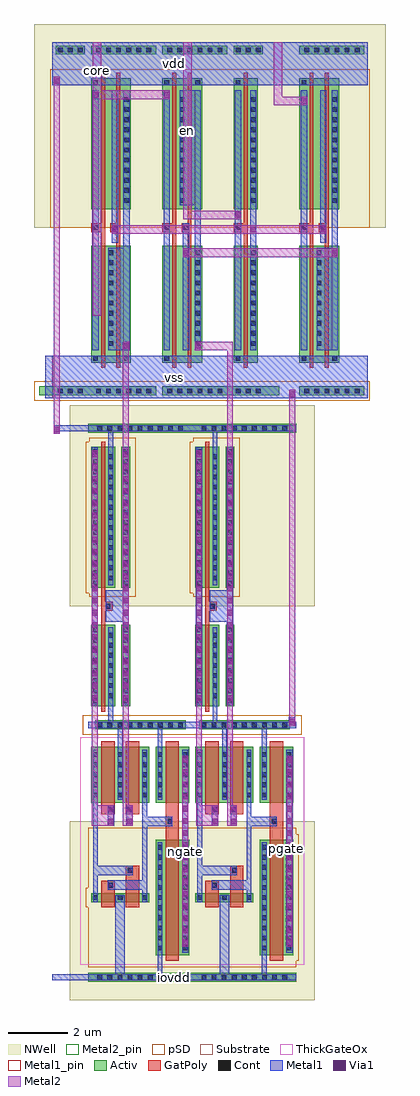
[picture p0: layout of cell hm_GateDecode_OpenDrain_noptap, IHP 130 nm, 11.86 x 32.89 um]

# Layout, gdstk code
import gdstk
lib = gdstk.Library(unit=1e-6, precision=1e-09)
def R(c, l, rs):  # rectangles x0, y0, x1, y1
    for r in rs: c.add(gdstk.rectangle(r[:2], r[2:], *l))
def A(c, l, x, y, w, h, nx, ny, dx, dy):  # array of equal rectangles
    R(c, l, [(x+i*dx, y+j*dy, x+i*dx+w, y+j*dy+h) for i in range(nx) for j in range(ny)])
def P(c, l, *ps):  # polygons
    for p in ps: c.add(gdstk.Polygon(p, *l))
Activ = (1, 0)
GatPoly = (5, 0)
Cont = (6, 0)
Metal1 = (8, 0)
Metal1_pin = (8, 2)
Metal2 = (10, 0)
Metal2_pin = (10, 2)
pSD = (14, 0)
Via1 = (19, 0)
NWell = (31, 0)
Substrate = (40, 0)
ThickGateOx = (44, 0)

sg13g2_io_inv_x1_noptap = lib.new_cell('sg13g2_io_inv_x1_noptap')
R(sg13g2_io_inv_x1_noptap, Activ, [(-0.44,0.105,1.64,0.405), (0.105,1.21,0.915,5.14), (0.105,6.38,0.915,10.79), (0.105,11.595,1.095,11.895)])
P(sg13g2_io_inv_x1_noptap, GatPoly, [(0.445,1.03),(0.445,5.61),(0.105,5.61),(0.105,5.91),(0.445,5.91),(0.445,10.97),(0.575,10.97),(0.575,1.03)])
A(sg13g2_io_inv_x1_noptap, Cont, 0.18, 0.175, 0.16, 0.16, 3, 2, 0.34, 11.49)
A(sg13g2_io_inv_x1_noptap, Cont, 0.685, 1.775, 0.16, 0.16, 1, 10, 0, 0.34)
A(sg13g2_io_inv_x1_noptap, Cont, 0.685, 6.595, 0.16, 0.16, 1, 11, 0, 0.34)
R(sg13g2_io_inv_x1_noptap, Cont, [(0.175,1.28,0.335,1.44), (0.175,5.68,0.335,5.84), (0.175,10.56,0.335,10.72)])
R(sg13g2_io_inv_x1_noptap, Metal1, [(-0.62,0,1.82,1.44), (0.15,1.62,0.36,10.38), (0.66,1.62,0.87,10.38), (0,10.56,1.2,12)])
R(sg13g2_io_inv_x1_noptap, Metal1_pin, [(0,0,1.2,1.44), (0.15,1.62,0.36,10.38), (0.66,1.62,0.87,10.38), (0,10.56,1.2,12)])
R(sg13g2_io_inv_x1_noptap, pSD, [(-0.62,-0.075,1.82,0.585), (-0.075,5.76,1.275,11.09)])
R(sg13g2_io_inv_x1_noptap, NWell, [(-0.62,5.76,1.82,12.62)])
R(sg13g2_io_inv_x1_noptap, Substrate, [(-0.44,0.105,1.64,0.405)])
sg13g2_io_inv_x1_noptap.add(gdstk.Label('sub!', (0.71,0.22), layer=63, texttype=0))
sg13g2_io_inv_x1_noptap.add(gdstk.Label('nq', (0.78,3.755), layer=8, texttype=25))
sg13g2_io_inv_x1_noptap.add(gdstk.Label('i', (0.255,6), layer=8, texttype=25))
sg13g2_io_inv_x1_noptap.add(gdstk.Label('vdd', (0.6,11.28), layer=8, texttype=25))
sg13g2_io_inv_x1_noptap.add(gdstk.Label('vss', (0.6,0.72), layer=8, texttype=25))

sg13g2_levelup_noptap = lib.new_cell('sg13g2_LevelUp_noptap')
R(sg13g2_levelup_noptap, Activ, [(0,-0.15,3.51,0.15), (2.275,0.73,3.405,4.63), (0.105,2.53,2.065,2.83), (0.105,5.87,1.235,7.77), (1.15,5.87,1.85,7.77), (1.765,5.87,2.065,7.77), (2.275,5.87,3.405,7.77), (0.245,8.35,3.29,8.65), (0.105,9.13,0.915,11.88), (1.125,9.13,1.425,11.88), (0.105,13.12,0.915,17.87), (1.125,13.12,1.425,17.87), (0,18.35,3.51,18.65)])
R(sg13g2_levelup_noptap, GatPoly, [(2.615,0.55,3.065,7.95), (0.445,2.35,0.895,3.01), (0.445,2.35,0.895,3.25), (1.275,2.35,1.725,3.75), (1.275,3.45,1.575,3.75), (0.445,5.49,0.895,7.95), (1.275,5.49,1.725,7.95)])
P(sg13g2_levelup_noptap, GatPoly, [(0.445,8.95),(0.445,18.05),(0.575,18.05),(0.575,12.65),(0.825,12.65),(0.825,12.35),(0.575,12.35),(0.575,8.95)],
  [(0.595,5.49),(0.595,5.69),(0.445,5.69),(0.445,7.95),(0.895,7.95),(0.895,5.49)],
  [(1.275,5.49),(1.275,7.95),(1.725,7.95),(1.725,5.69),(1.575,5.69),(1.575,5.49)])
A(sg13g2_levelup_noptap, Cont, 0.315, -0.08, 0.16, 0.16, 9, 2, 0.34, 8.5)
A(sg13g2_levelup_noptap, Cont, 2.345, 0.9, 0.16, 0.16, 1, 11, 0, 0.34)
A(sg13g2_levelup_noptap, Cont, 3.175, 0.9, 0.16, 0.16, 1, 11, 0, 0.34)
A(sg13g2_levelup_noptap, Cont, 0.175, 2.6, 0.16, 0.16, 3, 2, 0.83, 3.46)
A(sg13g2_levelup_noptap, Cont, 2.345, 6.06, 0.16, 0.16, 1, 5, 0, 0.34)
A(sg13g2_levelup_noptap, Cont, 3.175, 6.06, 0.16, 0.16, 1, 5, 0, 0.34)
A(sg13g2_levelup_noptap, Cont, 0.175, 6.4, 0.16, 0.16, 3, 4, 0.83, 0.34)
A(sg13g2_levelup_noptap, Cont, 0.175, 9.235, 0.16, 0.16, 1, 8, 0, 0.34)
A(sg13g2_levelup_noptap, Cont, 1.195, 9.235, 0.16, 0.16, 1, 8, 0, 0.34)
A(sg13g2_levelup_noptap, Cont, 0.685, 9.405, 0.16, 0.16, 1, 7, 0, 0.34)
A(sg13g2_levelup_noptap, Cont, 0.175, 13.205, 0.16, 0.16, 1, 14, 0, 0.34)
A(sg13g2_levelup_noptap, Cont, 1.195, 13.205, 0.16, 0.16, 1, 14, 0, 0.34)
A(sg13g2_levelup_noptap, Cont, 0.685, 13.375, 0.16, 0.16, 1, 13, 0, 0.34)
A(sg13g2_levelup_noptap, Cont, 0.315, 18.42, 0.16, 0.16, 9, 1, 0.34, 0)
R(sg13g2_levelup_noptap, Cont, [(0.665,3.02,0.825,3.18), (1.345,3.52,1.505,3.68), (2.685,5.17,2.845,5.33), (0.665,5.56,0.825,5.72), (1.345,5.56,1.505,5.72), (0.595,12.42,0.755,12.58)])
R(sg13g2_levelup_noptap, Metal1, [(3.175,0.82,3.385,7.66), (0.665,2.94,0.825,3.26), (1.345,3.44,1.505,3.76), (0.665,5.1,0.875,5.8), (1.295,5.1,1.505,5.8), (1.345,5.48,1.505,5.8), (0.125,9.155,0.335,17.865)])
P(sg13g2_levelup_noptap, Metal1, [(1.835,2.52),(1.835,2.94),(0.665,2.94),(0.665,3.26),(1.835,3.26),(1.835,7.66),(1.995,7.66),(1.995,5.41),(2.845,5.41),(2.845,5.09),(1.995,5.09),(1.995,2.52)],
  [(0,-0.105),(0,0.105),(0.925,0.105),(0.925,2.76),(1.245,2.76),(1.245,0.105),(2.345,0.105),(2.345,4.54),(2.505,4.54),(2.505,0.105),(3.51,0.105),(3.51,-0.105)],
  [(0.175,2.52),(0.175,7.66),(0.335,7.66),(0.335,3.76),(1.505,3.76),(1.505,3.44),(0.335,3.44),(0.335,2.52)],
  [(1.17,9.155),(1.17,11.97),(0.595,11.97),(0.595,13.03),(1.17,13.03),(1.17,17.865),(1.38,17.865),(1.38,9.155)],
  [(1.005,5.98),(1.005,8.395),(0,8.395),(0,8.605),(0.685,8.605),(0.685,11.79),(0.845,11.79),(0.845,8.605),(3.51,8.605),(3.51,8.395),(2.505,8.395),(2.505,5.98),(2.345,5.98),(2.345,8.395),(1.165,8.395),(1.165,5.98)],
  [(0.685,13.21),(0.685,18.395),(0,18.395),(0,18.605),(3.51,18.605),(3.51,18.395),(0.845,18.395),(0.845,13.21)])
R(sg13g2_levelup_noptap, Metal1_pin, [(0,-0.105,3.51,0.105), (0,8.395,3.51,8.605), (0,18.395,3.51,18.605)])
R(sg13g2_levelup_noptap, Metal2, [(3.18,1.02,3.38,7.46)])
P(sg13g2_levelup_noptap, Metal2, [(1.175,5.1),(1.175,17.755),(1.375,17.755),(1.375,5.8),(1.5,5.8),(1.5,5.1)],
  [(0.13,5.1),(0.13,17.755),(0.33,17.755),(0.33,5.8),(0.87,5.8),(0.87,5.1)])
R(sg13g2_levelup_noptap, Metal2_pin, [(3.18,1.02,3.38,7.46), (1.175,9.265,1.375,17.755)])
R(sg13g2_levelup_noptap, pSD, [(-0.18,8.17,3.69,8.83)])
P(sg13g2_levelup_noptap, pSD, [(0.035,12.82),(0.035,12.94),(-0.075,12.94),(-0.075,18.05),(0.035,18.05),(0.035,18.17),(1.605,18.17),(1.605,12.82)],
  [(0,0.33),(0,2.35),(-0.075,2.35),(-0.075,3.01),(0,3.01),(0,5.03),(3.51,5.03),(3.51,4.81),(3.585,4.81),(3.585,0.55),(3.51,0.55),(3.51,0.33)])
A(sg13g2_levelup_noptap, Via1, 3.185, 1.07, 0.19, 0.19, 1, 16, 0, 0.41)
A(sg13g2_levelup_noptap, Via1, 0.135, 9.315, 0.19, 0.19, 1, 21, 0, 0.41)
A(sg13g2_levelup_noptap, Via1, 1.18, 9.315, 0.19, 0.19, 1, 21, 0, 0.41)
R(sg13g2_levelup_noptap, Via1, [(0.675,5.15,0.865,5.34), (1.305,5.15,1.495,5.34), (0.675,5.56,0.865,5.75), (1.305,5.56,1.495,5.75)])
R(sg13g2_levelup_noptap, NWell, [(-0.62,-0.77,4.13,5.25), (-0.62,12.5,4.13,19.27)])
R(sg13g2_levelup_noptap, Substrate, [(0.245,8.35,3.29,8.65)])
R(sg13g2_levelup_noptap, ThickGateOx, [(-0.27,0.42,3.78,8.08)])
sg13g2_levelup_noptap.add(gdstk.Label('sub!', (1.61,8.535), layer=63, texttype=0))
sg13g2_levelup_noptap.add(gdstk.Label('iovdd', (1.755,0), layer=8, texttype=25))
sg13g2_levelup_noptap.add(gdstk.Label('vss', (1.755,8.5), layer=8, texttype=25))
sg13g2_levelup_noptap.add(gdstk.Label('vdd', (1.755,18.5), layer=8, texttype=25))
sg13g2_levelup_noptap.add(gdstk.Label('o', (3.28,4.24), layer=10, texttype=25))
sg13g2_levelup_noptap.add(gdstk.Label('i', (1.275,13.51), layer=10, texttype=25))

sg13g2_io_nand2_x1_nopta = lib.new_cell('sg13g2_io_nand2_x1_noptap')
R(sg13g2_io_nand2_x1_nopta, Activ, [(0.105,0.105,2.295,0.405), (0.105,1.21,1.445,5.14), (0.105,6.38,1.445,10.79), (0.105,11.595,2.295,11.895)])
P(sg13g2_io_nand2_x1_nopta, GatPoly, [(0.955,1.03),(0.955,5.61),(0.755,5.61),(0.755,5.91),(0.955,5.91),(0.955,10.97),(1.085,10.97),(1.085,1.03)],
  [(0.445,1.03),(0.445,5.61),(0.105,5.61),(0.105,5.91),(0.445,5.91),(0.445,10.97),(0.575,10.97),(0.575,1.03)])
A(sg13g2_io_nand2_x1_nopta, Cont, 0.27, 0.175, 0.16, 0.16, 6, 2, 0.34, 11.49)
A(sg13g2_io_nand2_x1_nopta, Cont, 1.215, 1.775, 0.16, 0.16, 1, 10, 0, 0.34)
A(sg13g2_io_nand2_x1_nopta, Cont, 0.685, 6.595, 0.16, 0.16, 1, 11, 0, 0.34)
R(sg13g2_io_nand2_x1_nopta, Cont, [(0.175,1.28,0.335,1.44), (0.175,5.68,0.335,5.84), (0.825,5.68,0.985,5.84), (0.175,10.56,0.335,10.72), (1.215,10.56,1.375,10.72)])
R(sg13g2_io_nand2_x1_nopta, Metal1, [(0,0,2.4,1.44), (0.15,1.62,0.36,10.38), (0.8,1.62,1.01,5.91), (0,10.56,2.4,12)])
P(sg13g2_io_nand2_x1_nopta, Metal1, [(1.19,1.62),(1.19,6.515),(0.685,6.515),(0.685,10.38),(1.4,10.38),(1.4,1.62)])
R(sg13g2_io_nand2_x1_nopta, Metal1_pin, [(0,0,2.4,1.44), (0.15,1.62,0.36,10.38), (0.8,1.62,1.01,5.91), (1.19,1.62,1.4,10.38), (0,10.56,2.4,12)])
R(sg13g2_io_nand2_x1_nopta, pSD, [(-0.075,-0.075,2.475,0.585), (-0.075,5.76,2.475,11.09)])
R(sg13g2_io_nand2_x1_nopta, NWell, [(-0.62,5.76,3.02,12.62)])
R(sg13g2_io_nand2_x1_nopta, Substrate, [(0.105,0.105,2.295,0.405)])
sg13g2_io_nand2_x1_nopta.add(gdstk.Label('sub!', (0.36,0.29), layer=63, texttype=0))
sg13g2_io_nand2_x1_nopta.add(gdstk.Label('i1', (0.895,5.865), layer=8, texttype=25))
sg13g2_io_nand2_x1_nopta.add(gdstk.Label('nq', (1.32,10.025), layer=8, texttype=25))
sg13g2_io_nand2_x1_nopta.add(gdstk.Label('i0', (0.255,6), layer=8, texttype=25))
sg13g2_io_nand2_x1_nopta.add(gdstk.Label('vdd', (1.2,11.28), layer=8, texttype=25))
sg13g2_io_nand2_x1_nopta.add(gdstk.Label('vss', (1.2,0.72), layer=8, texttype=25))

sg13g2_io_tie_noptap = lib.new_cell('sg13g2_io_tie_noptap')
R(sg13g2_io_tie_noptap, Activ, [(-0.445,0.105,1.64,0.405), (0.105,11.595,1.095,11.895), (0.11,11.595,1.09,11.895)])
A(sg13g2_io_tie_noptap, Cont, 0.18, 0.175, 0.16, 0.16, 3, 2, 0.34, 11.49)
R(sg13g2_io_tie_noptap, Metal1, [(-0.25,0,1.47,1.44), (0,10.56,1.2,12)])
R(sg13g2_io_tie_noptap, Metal1_pin, [(0,0,1.2,1.44), (0,10.56,1.2,12)])
R(sg13g2_io_tie_noptap, pSD, [(-0.62,-0.075,1.82,0.585), (-0.075,5.76,1.275,11.09)])
R(sg13g2_io_tie_noptap, NWell, [(-0.62,5.76,1.82,12.62)])
R(sg13g2_io_tie_noptap, Substrate, [(-0.445,0.105,1.64,0.405)])
sg13g2_io_tie_noptap.add(gdstk.Label('sub!', (0.62,0.32), layer=63, texttype=0))
sg13g2_io_tie_noptap.add(gdstk.Label('vss', (0.6,0.72), layer=8, texttype=25))
sg13g2_io_tie_noptap.add(gdstk.Label('vdd', (0.6,11.28), layer=8, texttype=25))

sg13g2_io_nor2_x1_noptap = lib.new_cell('sg13g2_io_nor2_x1_noptap')
R(sg13g2_io_nor2_x1_noptap, Activ, [(0.105,0.105,2.295,0.405), (0.105,1.21,1.445,5.14), (0.105,6.38,1.445,10.79), (0.105,11.595,2.295,11.895)])
P(sg13g2_io_nor2_x1_noptap, GatPoly, [(0.955,1.03),(0.955,5.61),(0.755,5.61),(0.755,5.91),(0.955,5.91),(0.955,10.97),(1.085,10.97),(1.085,1.03)],
  [(0.445,1.03),(0.445,5.61),(0.105,5.61),(0.105,5.91),(0.445,5.91),(0.445,10.97),(0.575,10.97),(0.575,1.03)])
A(sg13g2_io_nor2_x1_noptap, Cont, 0.27, 0.175, 0.16, 0.16, 6, 2, 0.34, 11.49)
A(sg13g2_io_nor2_x1_noptap, Cont, 0.685, 1.775, 0.16, 0.16, 1, 10, 0, 0.34)
A(sg13g2_io_nor2_x1_noptap, Cont, 1.215, 6.595, 0.16, 0.16, 1, 11, 0, 0.34)
R(sg13g2_io_nor2_x1_noptap, Cont, [(0.175,1.28,0.335,1.44), (1.215,1.28,1.375,1.44), (0.175,5.68,0.335,5.84), (0.825,5.68,0.985,5.84), (0.175,10.56,0.335,10.72)])
R(sg13g2_io_nor2_x1_noptap, Metal1, [(0,0,2.4,1.44), (0.15,1.62,0.36,10.38), (0.8,5.255,1.01,10.38), (0,10.56,2.4,12)])
P(sg13g2_io_nor2_x1_noptap, Metal1, [(0.685,1.62),(0.685,5.075),(1.19,5.075),(1.19,10.38),(1.4,10.38),(1.4,1.62)])
R(sg13g2_io_nor2_x1_noptap, Metal1_pin, [(0,0,2.4,1.44), (0.15,1.62,0.36,10.38), (1.19,1.62,1.4,10.38), (0.8,5.255,1.01,10.38), (0,10.56,2.4,12)])
R(sg13g2_io_nor2_x1_noptap, pSD, [(-0.075,-0.075,2.475,0.585), (-0.075,5.76,2.475,11.09)])
R(sg13g2_io_nor2_x1_noptap, NWell, [(-0.62,5.76,3.02,12.62)])
R(sg13g2_io_nor2_x1_noptap, Substrate, [(0.105,0.105,2.295,0.405)])
sg13g2_io_nor2_x1_noptap.add(gdstk.Label('sub!', (0.37,0.26), layer=63, texttype=0))
sg13g2_io_nor2_x1_noptap.add(gdstk.Label('i1', (0.92,6.455), layer=8, texttype=25))
sg13g2_io_nor2_x1_noptap.add(gdstk.Label('nq', (1.28,4.63), layer=8, texttype=25))
sg13g2_io_nor2_x1_noptap.add(gdstk.Label('i0', (0.255,6), layer=8, texttype=25))
sg13g2_io_nor2_x1_noptap.add(gdstk.Label('vdd', (1.2,11.28), layer=8, texttype=25))
sg13g2_io_nor2_x1_noptap.add(gdstk.Label('vss', (1.2,0.72), layer=8, texttype=25))

hm_gatedecode_opendrain_ = lib.new_cell('hm_GateDecode_OpenDrain_noptap')
R(hm_gatedecode_opendrain_, Metal1, [(0,-19.605,8.22,-19.395), (7.97,-11.04,8.18,-10.75), (0,0,8.22,1.44), (2.39,1.62,2.6,1.91), (4.79,1.62,5,1.91), (2,5.545,2.21,5.835), (6.66,5.545,6.87,5.835), (4.4,5.62,4.61,5.91), (6.15,6.045,6.36,6.335), (1.35,10.09,1.56,10.38), (3.75,10.09,3.96,10.38), (0,10.56,8.22,12)])
P(hm_gatedecode_opendrain_, Metal1, [(0.04,-1.185),(0.04,-0.895),(4.71,-0.895),(4.71,-1.105),(0.25,-1.105),(0.25,-1.185)])
R(hm_gatedecode_opendrain_, Metal1_pin, [(0,-19.605,8.22,-19.395), (0,0,8.22,1.44), (0,10.56,8.22,12)])
R(hm_gatedecode_opendrain_, Metal2, [(4.38,-18.48,4.58,-12.04), (7.89,-18.48,8.09,-12.04), (7.975,-11.04,8.175,0.29), (0.045,-1.185,0.245,10.85), (1.355,2.79,1.645,10.09), (4.4,4.765,9.62,5.055), (2.005,5.545,6.87,5.835), (6.87,5.545,9.23,5.835), (7.455,9.88,7.745,12), (7.455,9.88,8.58,10.17)])
P(hm_gatedecode_opendrain_, Metal2, [(4.405,6.045),(4.405,12),(4.695,12),(4.695,6.335),(6.36,6.335),(6.36,6.045)],
  [(5.885,-10.235),(5.885,1.62),(4.795,1.62),(4.795,1.91),(6.085,1.91),(6.085,-10.235)],
  [(2.375,-10.235),(2.375,1.91),(2.595,1.91),(2.595,1.62),(2.575,1.62),(2.575,-10.235)],
  [(1.355,10.09),(1.355,12),(1.645,12),(1.645,10.38),(3.955,10.38),(3.955,10.09)])
R(hm_gatedecode_opendrain_, Metal2_pin, [(4.38,-18.48,4.58,-12.04), (7.89,-18.48,8.09,-12.04), (4.405,6.045,4.695,12), (1.355,10.09,1.645,12)])
R(hm_gatedecode_opendrain_, pSD, [(7.82,-0.075,8.145,0.585), (7.275,5.76,8.145,11.09)])
R(hm_gatedecode_opendrain_, Via1, [(7.98,-10.99,8.17,-10.8), (0.05,-1.135,0.24,-0.945), (7.98,0.05,8.17,0.24), (2.4,1.67,2.59,1.86), (4.8,1.67,4.99,1.86), (4.41,4.815,4.6,5.005), (9.42,4.815,9.61,5.005), (2.01,5.595,2.2,5.785), (6.67,5.595,6.86,5.785), (9.03,5.595,9.22,5.785), (6.16,6.095,6.35,6.285), (8.38,9.93,8.57,10.12), (1.36,10.14,1.55,10.33), (3.76,10.14,3.95,10.33), (0.05,10.61,0.24,10.8)])
hm_gatedecode_opendrain_.add(gdstk.Reference(sg13g2_io_inv_x1_noptap, (6,0)))
hm_gatedecode_opendrain_.add(gdstk.Reference(sg13g2_levelup_noptap, (4.71,-19.5)))
hm_gatedecode_opendrain_.add(gdstk.Reference(sg13g2_levelup_noptap, (1.2,-19.5)))
hm_gatedecode_opendrain_.add(gdstk.Reference(sg13g2_io_nand2_x1_nopta, (3.6,0)))
hm_gatedecode_opendrain_.add(gdstk.Reference(sg13g2_io_tie_noptap, (0,0)))
hm_gatedecode_opendrain_.add(gdstk.Reference(sg13g2_io_nor2_x1_noptap, (1.2,0)))
hm_gatedecode_opendrain_.add(gdstk.Reference(sg13g2_io_nor2_x1_noptap, (8.22,0)))
hm_gatedecode_opendrain_.add(gdstk.Label('iovdd', (4.11,-19.5), layer=8, texttype=25))
hm_gatedecode_opendrain_.add(gdstk.Label('vdd', (4.11,11.28), layer=8, texttype=25))
hm_gatedecode_opendrain_.add(gdstk.Label('vss', (4.11,0.72), layer=8, texttype=25))
hm_gatedecode_opendrain_.add(gdstk.Label('en', (4.55,9.02), layer=10, texttype=25))
hm_gatedecode_opendrain_.add(gdstk.Label('ngate', (4.48,-15.26), layer=10, texttype=25))
hm_gatedecode_opendrain_.add(gdstk.Label('core', (1.5,11.045), layer=10, texttype=25))
hm_gatedecode_opendrain_.add(gdstk.Label('pgate', (7.89,-15.155), layer=10, texttype=25))

lib.write_gds('hm_GateDecode_OpenDrain_noptap.gds')
